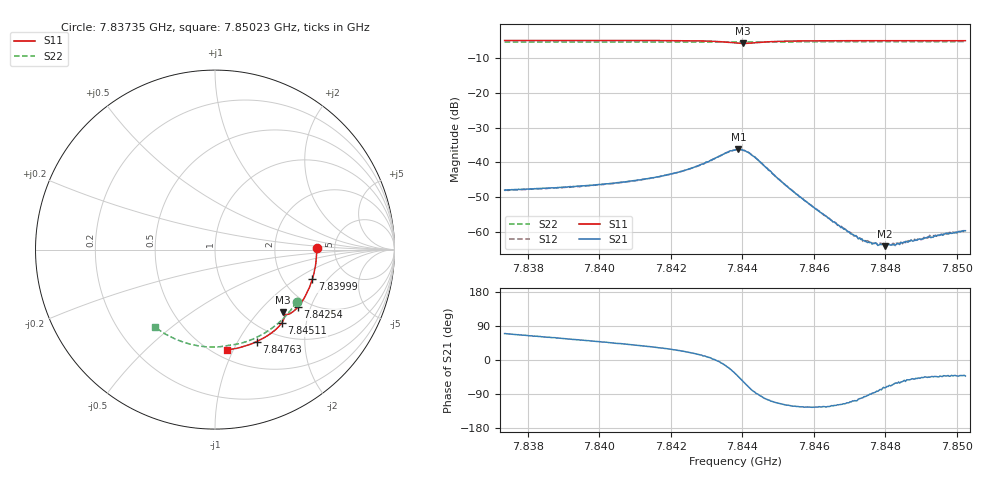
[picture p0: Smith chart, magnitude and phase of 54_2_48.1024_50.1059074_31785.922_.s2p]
#  HZ  S  RI  R  50.00
! Rohde & Schwarz Vector Network Analyzer
! Rohde-Schwarz,ZNB20-2Port,1311601062101988,3.16
! Created: UTC 12/23/2023, 3:40:05 AM
! freq[Hz]  re:S11  im:S11  re:S21  im:S21  re:S12  im:S12  re:S22  im:S22
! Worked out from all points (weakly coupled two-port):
!   401 points, 7.83735 GHz to 7.85023 GHz, reference 50 ohm
!   highest |S21| = -36.28 dB at 7.84389 GHz (marker M1); lowest = -64.2 dB at 7.84798 GHz (marker M2)
!   lowest |S11| = -5.8 dB at 7.84402 GHz (marker M3), VSWR 3.12, Z = 71.9 - j68.5 ohm
!   |S11| at or under -10 dB: nowhere
!   |S22| runs from -5.4 to -5.3 dB; largest |S21 - S12| = 0.00026
!   S11 on the Smith chart (normalised r, x): 7.83735 GHz: 3.61, +0.12; 7.83999 GHz: 2.88, -1.38; 7.84254 GHz: 1.75, -1.63; 7.84511 GHz: 1.24, -1.46; 7.84763 GHz: 0.80, -1.20; 7.85023 GHz: 0.58, -0.94
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7.837354e9  0.5663 0.0115  0.00138 0.00372  0.00141 0.00366  0.4544 -0.2916
7.839512e9  0.5516 -0.1314  0.00276 0.00361  0.00274 0.00361  0.3565 -0.4064
7.839995e9  0.5431 -0.1627  0.00317 0.00358  0.00308 0.00354  0.3303 -0.4281
7.841669e9  0.4979 -0.2681  0.00524 0.00331  0.00521 0.00331  0.2306 -0.4898
7.842539e9  0.462 -0.3199  0.0076 0.0027  0.00757 0.00274  0.1738 -0.5127
7.843312e9  0.4141 -0.3582  0.0119 -0.000609  0.0119 -0.000594  0.1213 -0.5267
7.843795e9  0.3795 -0.3578  0.0122 -0.00859  0.0123 -0.00867  0.0889 -0.5317
7.843891e9  0.3764 -0.3543  0.011 -0.0107  0.011 -0.0106  0.0827 -0.5326
7.84402e9  0.3765 -0.3501  0.0082 -0.0124  0.00826 -0.0123  0.0748 -0.5339
7.844149e9  0.3799 -0.3494  0.00512 -0.013  0.00522 -0.013  0.0666 -0.5353
7.844374e9  0.3866 -0.3576  0.000539 -0.0115  0.000687 -0.0115  0.0519 -0.538
7.845115e9  0.3723 -0.4081  -0.00229 -0.00459  -0.00232 -0.0046  0.000146 -0.5427
7.845952e9  0.3302 -0.4522  -0.00132 -0.0019  -0.00135 -0.00192  -0.0592 -0.5406
7.846693e9  0.2886 -0.4823  -0.000588 -0.00109  -0.000602 -0.0011  -0.1105 -0.5329
7.847143e9  0.262 -0.4978  -0.000256 -0.000834  -0.000244 -0.000829  -0.1415 -0.5259
7.847433e9  0.2444 -0.5068  -8.03e-05 -0.000718  -5.58e-05 -0.000739  -0.1611 -0.5203
7.847626e9  0.2326 -0.5126  2.77e-05 -0.000662  3.34e-05 -0.000685  -0.1739 -0.5162
7.847981e9  0.2108 -0.5221  0.000175 -0.000592  0.000207 -0.000584  -0.1974 -0.5079
7.848109e9  0.2027 -0.5252  0.000256 -0.000598  0.000262 -0.000606  -0.2059 -0.5047
7.848528e9  0.1764 -0.5347  0.000415 -0.000561  0.000411 -0.000578  -0.233 -0.4932
7.849301e9  0.1264 -0.5485  0.000607 -0.000575  0.00062 -0.000593  -0.2808 -0.4679
7.850235e9  0.0652 -0.5587  0.000763 -0.000695  0.000769 -0.000699  -0.3352 -0.4313
